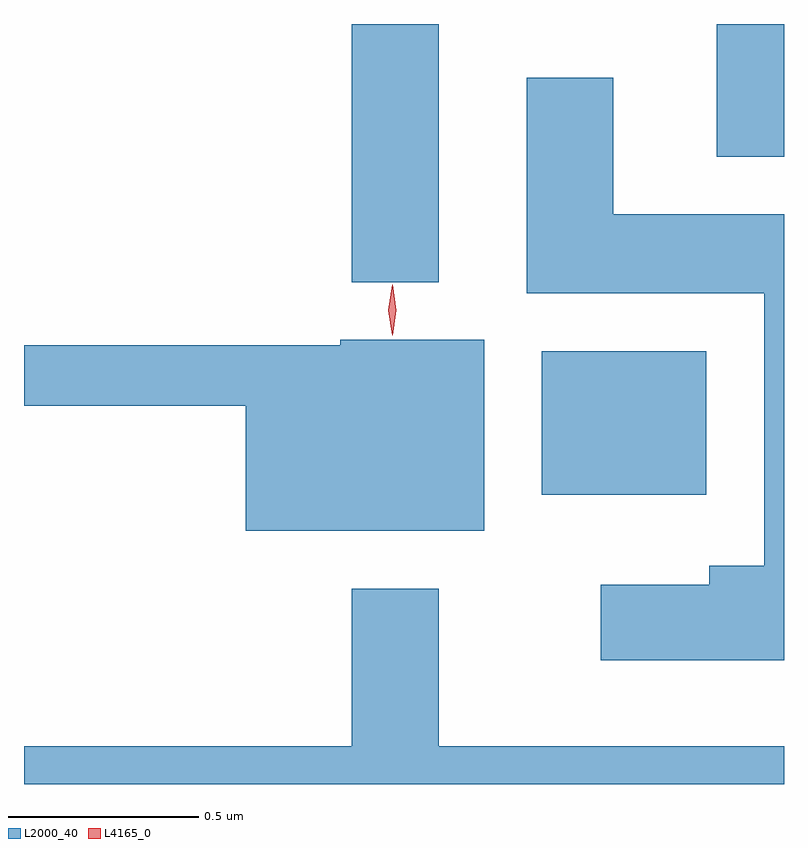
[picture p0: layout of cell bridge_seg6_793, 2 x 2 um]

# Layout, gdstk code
import gdstk
lib = gdstk.Library(unit=1e-6, precision=1e-09)
def R(c, l, rs):  # rectangles x0, y0, x1, y1
    for r in rs: c.add(gdstk.rectangle(r[:2], r[2:], *l))
def P(c, l, *ps):  # polygons
    for p in ps: c.add(gdstk.Polygon(p, *l))
L2000_40 = (2000, 40)
L4165_0 = (4165, 0)

bridge_seg6_793 = lib.new_cell('bridge_seg6_793')
R(bridge_seg6_793, L2000_40, [(433.751,1548.746,434.184,1549.124), (433.251,1549.306,433.479,1549.985), (434.211,1549.636,434.388,1549.985)])
P(bridge_seg6_793, L2000_40, [(434.388,1549.484),(433.939,1549.484),(433.939,1549.844),(433.711,1549.844),(433.711,1549.276),(434.336,1549.276),(434.336,1548.559),(434.191,1548.559),(434.191,1548.509),(433.906,1548.509),(433.906,1548.311),(434.388,1548.311)],
  [(433.599,1549.154),(433.22,1549.154),(433.22,1549.139),(432.388,1549.139),(432.388,1548.981),(432.971,1548.981),(432.971,1548.651),(433.599,1548.651)],
  [(434.388,1548.084),(433.479,1548.084),(433.479,1548.499),(433.251,1548.499),(433.251,1548.084),(432.388,1548.084),(432.388,1547.985),(434.388,1547.985)])
P(bridge_seg6_793, L4165_0, [(433.357,1549.166),(433.357,1549.166),(433.347,1549.232),(433.357,1549.299),(433.357,1549.299),(433.358,1549.299),(433.367,1549.232),(433.358,1549.166)])

lib.write_gds('bridge_seg6_793.gds')
